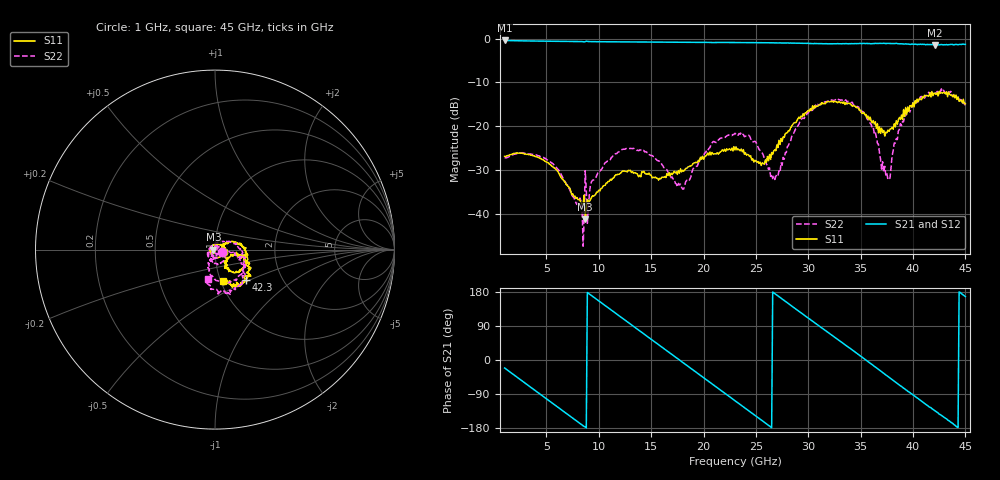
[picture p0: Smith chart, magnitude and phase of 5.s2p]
!Keysight Technologies,N5247B,MY61255062,A.19.80.06
!Date: Monday, May 18, 2026 12:03:07
!Correction: S11(Cdelta 2-Port  )
!S21(Cdelta 2-Port  )
!S12(Cdelta 2-Port  )
!S22(Cdelta 2-Port  )
!S2P File: Measurements: S11, S21, S12, S22:
# Hz S  dB  R 50
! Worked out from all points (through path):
!   441 points, 1 GHz to 45 GHz, reference 50 ohm
!   highest |S21| = -0.41 dB at 1 GHz (marker M1); lowest = -1.4 dB at 42.1 GHz (marker M2)
!   group delay of S21, straight-line fit = 56.3 ps
!   lowest |S11| = -41.3 dB at 8.7 GHz (marker M3), VSWR 1.02, Z = 49.1 - j0.0196 ohm
!   |S11| at or under -10 dB: start of sweep to end of sweep
!   |S22| runs from -47.3 to -11.5 dB; largest |S21 - S12| = 0.016
!   S11 on the Smith chart (normalised r, x): 1 GHz: 1.09, -0.03; 42.3 GHz: 1.32, -0.48; 45 GHz: 1.03, -0.37
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1e9  -26.85 -16.7  -0.41 -21.1  -0.41 -21.1  -27.14 -18.6
2.9e9  -26.31 -64.3  -0.51 -59.9  -0.51 -59.9  -26.13 -65.4
4.6e9  -27.60 -103.7  -0.56 -94.4  -0.57 -94.4  -27.07 -102.1
8.4e9  -37.73 -125.0  -0.67 -171.7  -0.67 -171.7  -38.89 -70.0
8.7e9  -41.26 -178.7  -0.68 -176.6  -0.68 -176.6  -30.13 74.8
9.4e9  -35.83 -109.3  -0.68 168.0  -0.68 168.0  -32.27 -69.5
1.25e10  -30.27 -144.3  -0.75 105.4  -0.76 105.4  -25.19 -106.3
1.57e10  -32.26 127.1  -0.79 40.4  -0.80 40.4  -27.88 -167.8
1.79e10  -30.40 69.6  -0.84 -4.0  -0.85 -4.1  -33.93 99.0
1.89e10  -28.85 52.0  -0.84 -24.2  -0.85 -24.2  -30.33 31.9
2.11e10  -26.26 18.4  -0.88 -68.7  -0.88 -68.7  -23.62 -27.1
2.3e10  -25.40 -0.7  -0.88 -107.4  -0.89 -107.5  -21.58 -67.6
2.5e10  -27.90 -7.9  -0.91 -148.1  -0.92 -148.1  -23.61 -115.0
2.66e10  -26.43 20.9  -0.95 179.4  -0.95 179.3  -31.94 160.9
3.04e10  -15.33 2.9  -1.11 102.4  -1.11 102.2  -16.39 -8.7
3.24e10  -14.47 -23.5  -1.16 62.3  -1.19 62.2  -14.10 -48.5
3.46e10  -15.76 -51.8  -1.15 18.2  -1.13 17.9  -15.31 -88.4
3.77e10  -21.15 -31.8  -1.10 -45.4  -1.12 -45.4  -32.07 -33.2
3.94e10  -17.31 -15.9  -1.22 -80.1  -1.24 -80.4  -16.49 -14.3
4.21e10  -12.51 -41.3  -1.45 -133.9  -1.40 -134.3  -12.35 -61.1
4.23e10  -12.30 -44.4  -1.42 -138.0  -1.36 -137.7  -12.03 -62.9
4.5e10  -14.84 -75.7  -1.31 167.4  -1.30 167.2  -15.36 -102.8
